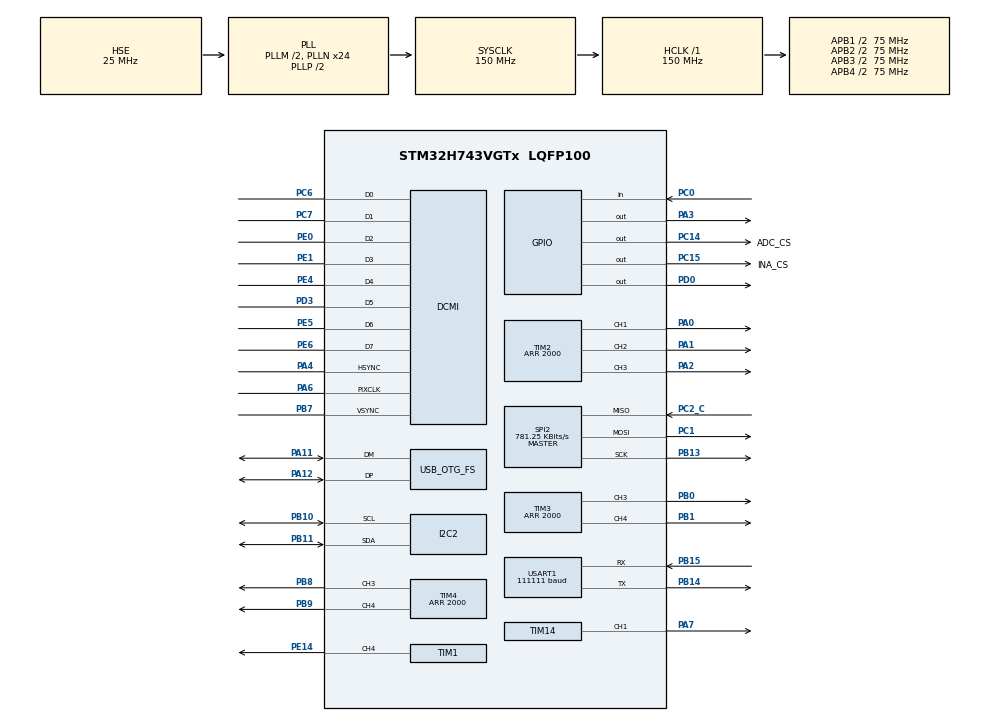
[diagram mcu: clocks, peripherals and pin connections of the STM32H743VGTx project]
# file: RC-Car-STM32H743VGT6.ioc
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CORTEX_M7.default_mode_Activation=1
DCMI.ByteSelectMode=DCMI_BSM_OTHER
DCMI.ByteSelectStart=DCMI_OEBS_EVEN
DCMI.HSPolarity=DCMI_HSPOLARITY_LOW
DCMI.LineSelectMode=DCMI_LSM_ALL
DCMI.PCKPolarity=DCMI_PCKPOLARITY_FALLING
DCMI.VSPolarity=DCMI_VSPOLARITY_HIGH
Dma.DCMI.0.Direction=DMA_PERIPH_TO_MEMORY
Dma.DCMI.0.EventEnable=DISABLE
Dma.DCMI.0.FIFOMode=DMA_FIFOMODE_ENABLE
Dma.DCMI.0.FIFOThreshold=DMA_FIFO_THRESHOLD_FULL
Dma.DCMI.0.Instance=DMA1_Stream0
Dma.DCMI.0.MemBurst=DMA_MBURST_SINGLE
Dma.DCMI.0.MemDataAlignment=DMA_MDATAALIGN_WORD
Dma.DCMI.0.MemInc=DMA_MINC_ENABLE
Dma.DCMI.0.Mode=DMA_CIRCULAR
Dma.DCMI.0.PeriphBurst=DMA_PBURST_SINGLE
Dma.DCMI.0.PeriphDataAlignment=DMA_PDATAALIGN_WORD
Dma.DCMI.0.PeriphInc=DMA_PINC_DISABLE
Dma.DCMI.0.Polarity=HAL_DMAMUX_REQ_GEN_RISING
Dma.DCMI.0.Priority=DMA_PRIORITY_HIGH
Dma.DCMI.0.RequestNumber=1
Dma.DCMI.0.SignalID=NONE
Dma.DCMI.0.SyncEnable=DISABLE
Dma.DCMI.0.SyncPolarity=HAL_DMAMUX_SYNC_NO_EVENT
Dma.DCMI.0.SyncRequestNumber=1
Dma.DCMI.0.SyncSignalID=NONE
Dma.Request0=DCMI
Dma.Request1=USART1_RX
Dma.USART1_RX.1.Direction=DMA_PERIPH_TO_MEMORY
Dma.USART1_RX.1.EventEnable=DISABLE
Dma.USART1_RX.1.FIFOMode=DMA_FIFOMODE_DISABLE
Dma.USART1_RX.1.Instance=DMA2_Stream0
Dma.USART1_RX.1.MemDataAlignment=DMA_MDATAALIGN_BYTE
Dma.USART1_RX.1.MemInc=DMA_MINC_ENABLE
Dma.USART1_RX.1.Mode=DMA_CIRCULAR
Dma.USART1_RX.1.PeriphDataAlignment=DMA_PDATAALIGN_BYTE
Dma.USART1_RX.1.PeriphInc=DMA_PINC_DISABLE
Dma.USART1_RX.1.Polarity=HAL_DMAMUX_REQ_GEN_RISING
Dma.USART1_RX.1.Priority=DMA_PRIORITY_VERY_HIGH
Dma.USART1_RX.1.RequestNumber=1
Dma.USART1_RX.1.SignalID=NONE
Dma.USART1_RX.1.SyncEnable=DISABLE
Dma.USART1_RX.1.SyncPolarity=HAL_DMAMUX_SYNC_NO_EVENT
Dma.USART1_RX.1.SyncRequestNumber=1
Dma.USART1_RX.1.SyncSignalID=NONE
I2C2.Speed=100
I2C2.Timing=0x00C0EAFF
JPEG.JPEG_RGB_FORMAT=JPEG_RGB565
JPEG.USE_JPEG_DECODER=0
Mcu.Family=STM32H7
Mcu.Name=STM32H743VGTx
Mcu.Package=LQFP100
Mdma.MDMA_Channel0.JPEG_INFIFO_TH.0.BlockCount=0
Mdma.MDMA_Channel0.JPEG_INFIFO_TH.0.BlockDataLength=0
Mdma.MDMA_Channel0.JPEG_INFIFO_TH.0.BufferTransferLength=32
Mdma.MDMA_Channel0.JPEG_INFIFO_TH.0.CircularMode=MDMA_LINEAR_LIST
Mdma.MDMA_Channel0.JPEG_INFIFO_TH.0.DataAlignment=MDMA_DATAALIGN_PACKENABLE
Mdma.MDMA_Channel0.JPEG_INFIFO_TH.0.DestBlockAddressOffset=0
Mdma.MDMA_Channel0.JPEG_INFIFO_TH.0.DestBurst=MDMA_DEST_BURST_SINGLE
Mdma.MDMA_Channel0.JPEG_INFIFO_TH.0.DestDataSize=MDMA_DEST_DATASIZE_WORD
Mdma.MDMA_Channel0.JPEG_INFIFO_TH.0.DestinationInc=MDMA_DEST_INC_DISABLE
Mdma.MDMA_Channel0.JPEG_INFIFO_TH.0.DstAddress=0
Mdma.MDMA_Channel0.JPEG_INFIFO_TH.0.Endianness=MDMA_LITTLE_ENDIANNESS_PRESERVE
Mdma.MDMA_Channel0.JPEG_INFIFO_TH.0.Instance=MDMA_Channel0
Mdma.MDMA_Channel0.JPEG_INFIFO_TH.0.MaskAddress=0
Mdma.MDMA_Channel0.JPEG_INFIFO_TH.0.MaskData=0
Mdma.MDMA_Channel0.JPEG_INFIFO_TH.0.Priority=MDMA_PRIORITY_MEDIUM
Mdma.MDMA_Channel0.JPEG_INFIFO_TH.0.Rank=First
Mdma.MDMA_Channel0.JPEG_INFIFO_TH.0.SourceBlockAddressOffset=0
Mdma.MDMA_Channel0.JPEG_INFIFO_TH.0.SourceBurst=MDMA_SOURCE_BURST_SINGLE
Mdma.MDMA_Channel0.JPEG_INFIFO_TH.0.SourceDataSize=MDMA_SRC_DATASIZE_BYTE
Mdma.MDMA_Channel0.JPEG_INFIFO_TH.0.SourceInc=MDMA_SRC_INC_BYTE
Mdma.MDMA_Channel0.JPEG_INFIFO_TH.0.SrcAddress=0
Mdma.MDMA_Channel0.JPEG_INFIFO_TH.0.TransferTriggerMode=MDMA_BUFFER_TRANSFER
Mdma.MDMA_Channel0.Request0=JPEG_INFIFO_TH
Mdma.MDMA_Channel0.RequestsNb=1
Mdma.MDMA_Channel1.JPEG_OUTFIFO_NE.0.BlockCount=0
Mdma.MDMA_Channel1.JPEG_OUTFIFO_NE.0.BlockDataLength=0
Mdma.MDMA_Channel1.JPEG_OUTFIFO_NE.0.BufferTransferLength=4
Mdma.MDMA_Channel1.JPEG_OUTFIFO_NE.0.CircularMode=MDMA_LINEAR_LIST
Mdma.MDMA_Channel1.JPEG_OUTFIFO_NE.0.DataAlignment=MDMA_DATAALIGN_PACKENABLE
Mdma.MDMA_Channel1.JPEG_OUTFIFO_NE.0.DestBlockAddressOffset=0
Mdma.MDMA_Channel1.JPEG_OUTFIFO_NE.0.DestBurst=MDMA_DEST_BURST_SINGLE
Mdma.MDMA_Channel1.JPEG_OUTFIFO_NE.0.DestDataSize=MDMA_DEST_DATASIZE_BYTE
Mdma.MDMA_Channel1.JPEG_OUTFIFO_NE.0.DestinationInc=MDMA_DEST_INC_BYTE
Mdma.MDMA_Channel1.JPEG_OUTFIFO_NE.0.DstAddress=0
Mdma.MDMA_Channel1.JPEG_OUTFIFO_NE.0.Endianness=MDMA_LITTLE_ENDIANNESS_PRESERVE
Mdma.MDMA_Channel1.JPEG_OUTFIFO_NE.0.Instance=MDMA_Channel1
Mdma.MDMA_Channel1.JPEG_OUTFIFO_NE.0.MaskAddress=0
Mdma.MDMA_Channel1.JPEG_OUTFIFO_NE.0.MaskData=0
Mdma.MDMA_Channel1.JPEG_OUTFIFO_NE.0.Priority=MDMA_PRIORITY_MEDIUM
Mdma.MDMA_Channel1.JPEG_OUTFIFO_NE.0.Rank=First
Mdma.MDMA_Channel1.JPEG_OUTFIFO_NE.0.SourceBlockAddressOffset=0
Mdma.MDMA_Channel1.JPEG_OUTFIFO_NE.0.SourceBurst=MDMA_SOURCE_BURST_SINGLE
Mdma.MDMA_Channel1.JPEG_OUTFIFO_NE.0.SourceDataSize=MDMA_SRC_DATASIZE_WORD
Mdma.MDMA_Channel1.JPEG_OUTFIFO_NE.0.SourceInc=MDMA_SRC_INC_DISABLE
Mdma.MDMA_Channel1.JPEG_OUTFIFO_NE.0.SrcAddress=0
Mdma.MDMA_Channel1.JPEG_OUTFIFO_NE.0.TransferTriggerMode=MDMA_BUFFER_TRANSFER
Mdma.MDMA_Channel1.Request0=JPEG_OUTFIFO_NE
Mdma.MDMA_Channel1.RequestsNb=1
Mdma.RequestSet0=MDMA_Channel0
Mdma.RequestSet1=MDMA_Channel1
Mdma.RequestSetsNb=2
NVIC.DCMI_IRQn=true\:0\:0\:false\:false\:true\:true\:true\:true
NVIC.DMA1_Stream0_IRQn=true\:0\:0\:false\:false\:true\:false\:true\:true
NVIC.DMA2_Stream0_IRQn=true\:0\:0\:false\:false\:true\:false\:true\:true
NVIC.I2C2_ER_IRQn=true\:0\:0\:false\:false\:true\:true\:true\:true
NVIC.I2C2_EV_IRQn=true\:0\:0\:false\:false\:true\:true\:true\:true
NVIC.JPEG_IRQn=true\:0\:0\:false\:false\:true\:true\:true\:true
NVIC.MDMA_IRQn=true\:0\:0\:false\:false\:true\:false\:true\:true
NVIC.OTG_FS_IRQn=true\:0\:0\:false\:false\:true\:false\:true\:true
NVIC.PriorityGroup=NVIC_PRIORITYGROUP_4
NVIC.TIM5_IRQn=true\:0\:0\:false\:false\:true\:true\:true\:true
NVIC.TIM8_TRG_COM_TIM14_IRQn=true\:0\:0\:false\:false\:true\:true\:true\:true
NVIC.USART1_IRQn=true\:0\:0\:false\:false\:true\:true\:true\:true
PA0.Signal=S_TIM2_CH1_ETR
PA1.Signal=S_TIM2_CH2
PA11.Mode=Device_Only
PA11.Signal=USB_OTG_FS_DM
PA12.Mode=Device_Only
PA12.Signal=USB_OTG_FS_DP
PA2.Signal=S_TIM2_CH3
PA3.PinState=GPIO_PIN_SET
PA3.Signal=GPIO_Output
PA4.Mode=Slave_8_bits_External_Synchro
PA4.Signal=DCMI_HSYNC
PA6.Mode=Slave_8_bits_External_Synchro
PA6.Signal=DCMI_PIXCLK
PA7.Signal=S_TIM14_CH1
PB0.Signal=S_TIM3_CH3
PB1.Signal=S_TIM3_CH4
PB10.GPIO_Pu=GPIO_PULLUP
PB10.GPIO_Speed=GPIO_SPEED_FREQ_VERY_HIGH
PB10.Mode=I2C
PB10.Signal=I2C2_SCL
PB11.GPIO_Pu=GPIO_PULLUP
PB11.GPIO_Speed=GPIO_SPEED_FREQ_VERY_HIGH
PB11.Mode=I2C
PB11.Signal=I2C2_SDA
PB13.Mode=Full_Duplex_Master
PB13.Signal=SPI2_SCK
PB14.Mode=Asynchronous
PB14.Signal=USART1_TX
PB15.Mode=Asynchronous
PB15.Signal=USART1_RX
PB7.Mode=Slave_8_bits_External_Synchro
PB7.Signal=DCMI_VSYNC
PB8.Signal=S_TIM4_CH3
PB9.Signal=S_TIM4_CH4
PC0.Signal=GPIO_Input
PC1.Mode=Full_Duplex_Master
PC1.Signal=SPI2_MOSI
PC14-OSC32_IN\ (OSC32_IN).GPIO_Label=ADC_CS
PC14-OSC32_IN\ (OSC32_IN).PinState=GPIO_PIN_SET
PC14-OSC32_IN\ (OSC32_IN).Signal=GPIO_Output
PC15-OSC32_OUT\ (OSC32_OUT).GPIO_Label=INA_CS
PC15-OSC32_OUT\ (OSC32_OUT).GPIO_Speed=GPIO_SPEED_FREQ_LOW
PC15-OSC32_OUT\ (OSC32_OUT).PinState=GPIO_PIN_SET
PC15-OSC32_OUT\ (OSC32_OUT).Signal=GPIO_Output
PC2_C.Mode=Full_Duplex_Master
PC2_C.Signal=SPI2_MISO
PC6.Mode=Slave_8_bits_External_Synchro
PC6.Signal=DCMI_D0
PC7.Mode=Slave_8_bits_External_Synchro
PC7.Signal=DCMI_D1
PD0.Signal=GPIO_Output
PD3.Mode=Slave_8_bits_External_Synchro
PD3.Signal=DCMI_D5
PE0.Mode=Slave_8_bits_External_Synchro
PE0.Signal=DCMI_D2
PE1.Mode=Slave_8_bits_External_Synchro
PE1.Signal=DCMI_D3
PE14.Signal=S_TIM1_CH4
PE4.Mode=Slave_8_bits_External_Synchro
PE4.Signal=DCMI_D4
PE5.Mode=Slave_8_bits_External_Synchro
PE5.Signal=DCMI_D6
PE6.Mode=Slave_8_bits_External_Synchro
PE6.Signal=DCMI_D7
PH0-OSC_IN\ (PH0).Mode=HSE-External-Oscillator
PH0-OSC_IN\ (PH0).Signal=RCC_OSC_IN
PH1-OSC_OUT\ (PH1).Mode=HSE-External-Oscillator
PH1-OSC_OUT\ (PH1).Signal=RCC_OSC_OUT
ProjectManager.HeapSize=0x200
ProjectManager.StackSize=0x400
ProjectManager.TargetToolchain=STM32CubeIDE
RCC.ADCFreq_Value=50390625
RCC.APB1Freq_Value=75000000
RCC.APB2Freq_Value=75000000
RCC.APB3Freq_Value=75000000
RCC.APB4Freq_Value=75000000
RCC.CortexFreq_Value=150000000
RCC.D1PPRE=RCC_APB3_DIV2
RCC.D2PPRE1=RCC_APB1_DIV2
RCC.D2PPRE2=RCC_APB2_DIV2
RCC.D3PPRE=RCC_APB4_DIV2
RCC.DIVM1=2
RCC.DIVM3=2
RCC.DIVN1=24
RCC.DIVN3=12
RCC.DIVQ1=6
RCC.DIVR3=3
RCC.HCLKFreq_Value=150000000
RCC.I2C123CLockSelection=RCC_I2C123CLKSOURCE_PLL3
RCC.PLL2FRACN=0
RCC.PLL3FRACN=0
RCC.PLLFRACN=0
RCC.PLLSourceVirtual=RCC_PLLSOURCE_HSE
RCC.PWR_Regulator_Voltage_Scale=PWR_REGULATOR_VOLTAGE_SCALE1
RCC.SYSCLKFreq_VALUE=150000000
RCC.SYSCLKSource=RCC_SYSCLKSOURCE_PLLCLK
RCC.USBFreq_Value=50000000
SH.S_TIM14_CH1.0=TIM14_CH1,PWM Generation1 CH1
SH.S_TIM1_CH4.0=TIM1_CH4,PWM Generation4 CH4
SH.S_TIM2_CH1_ETR.0=TIM2_CH1,PWM Generation1 CH1
SH.S_TIM2_CH2.0=TIM2_CH2,PWM Generation2 CH2
SH.S_TIM2_CH3.0=TIM2_CH3,PWM Generation3 CH3
SH.S_TIM3_CH3.0=TIM3_CH3,PWM Generation3 CH3
SH.S_TIM3_CH4.0=TIM3_CH4,PWM Generation4 CH4
SH.S_TIM4_CH3.0=TIM4_CH3,PWM Generation3 CH3
SH.S_TIM4_CH4.0=TIM4_CH4,PWM Generation4 CH4
SPI2.BaudRatePrescaler=SPI_BAUDRATEPRESCALER_64
SPI2.CLKPhase=SPI_PHASE_1EDGE
SPI2.CLKPolarity=SPI_POLARITY_HIGH
SPI2.CalculateBaudRate=781.25 KBits/s
SPI2.DataSize=SPI_DATASIZE_8BIT
SPI2.Direction=SPI_DIRECTION_2LINES
SPI2.Mode=SPI_MODE_MASTER
SPI2.NSSPMode=SPI_NSS_PULSE_DISABLE
SPI2.VirtualType=VM_MASTER
TIM1.Channel-PWM\ Generation4\ CH4=TIM_CHANNEL_4
TIM1.Period=2000
TIM14.AutoReloadPreload=TIM_AUTORELOAD_PRELOAD_ENABLE
TIM14.Channel=TIM_CHANNEL_1
TIM14.OCFastMode_PWM=TIM_OCFAST_ENABLE
TIM14.Period=5
TIM14.Pulse=3
TIM2.Channel-PWM\ Generation1\ CH1=TIM_CHANNEL_1
TIM2.Channel-PWM\ Generation2\ CH2=TIM_CHANNEL_2
TIM2.Channel-PWM\ Generation3\ CH3=TIM_CHANNEL_3
TIM2.Period=2000
TIM3.Channel-PWM\ Generation3\ CH3=TIM_CHANNEL_3
TIM3.Channel-PWM\ Generation4\ CH4=TIM_CHANNEL_4
TIM3.Period=2000
TIM4.Channel-PWM\ Generation3\ CH3=TIM_CHANNEL_3
TIM4.Channel-PWM\ Generation4\ CH4=TIM_CHANNEL_4
TIM4.Period=2000
TIM5.Period=7499998
USART1.BaudRate=111111
USART1.DMADisableonRxErrorParam=ADVFEATURE_DMA_DISABLEONRXERROR
USART1.FIFOMode=FIFOMODE_ENABLE
USART1.VirtualMode-Asynchronous=VM_ASYNC
USB_DEVICE.APP_TX_DATA_SIZE-CDC_FS=2048
USB_DEVICE.CLASS_NAME_FS=CDC
USB_DEVICE.VirtualMode-CDC_FS=Cdc
USB_DEVICE.VirtualModeFS=Cdc_FS
USB_OTG_FS.VirtualMode=Device_Only
USB_OTG_FS.dma_enable=DISABLE
VP_JPEG_VS_JPEG.Mode=JPEG_Activate
VP_MEMORYMAP_VS_MEMORYMAP.Mode=CurAppReg
VP_TIM14_VS_ClockSourceINT.Mode=Enable_Timer
VP_TIM5_VS_ClockSourceINT.Mode=Internal
VP_USB_DEVICE_VS_USB_DEVICE_CDC_FS.Mode=CDC_FS
board=custom

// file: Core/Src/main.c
/* USER CODE BEGIN Header */
/**
 ******************************************************************************
 * @file           : main.c
 * @brief          : Main program body
 ******************************************************************************
 * @attention
 *
 * Copyright (c) 2025 STMicroelectronics.
 * All rights reserved.
 *
 * This software is licensed under terms that can be found in the LICENSE file
 * in the root directory of this software component.
 * If no LICENSE file comes with this software, it is provided AS-IS.
 *
 ******************************************************************************
 */
/* USER CODE END Header */
#include "main.h"
#include "usb_device.h"

/* USER CODE BEGIN Includes */
#include "INA229.h"
#include "XBEE.h"
/* USER CODE END Includes */

/* USER CODE BEGIN PD */
#define OV7670_ADDR_READ 0x43
#define OV7670_ADDR_WRITE 0x42

// SAFETY DEFINES
#define WDOG_NETWORK_CUTOFF 4
#define OVERCURRENT_PROTLIMIT 5.0
#define UNDERVOLT_PROTLIMIT 21.0

// SCHEDULER OPTIONS
#define SCH_MS_TX 5
#define SCH_MS_DEBUG 50

// CONTROL DEFINES
#define CTRL_MAX_PWRDELTA_PERSECOND 2000

// CAMERA SETTINGS
#define CAM_WIDTH 315
#define CAM_HEIGHT 242
#define CAM_VSHIFT_INCREMENTS CAM_HEIGHT / 2

// JPEG SETTINGS
#define JPEG_QUALITY 20
#define JPEG_OUTBUF_SIZE 64
#define JPEG_HEADERSIZE 526

#define CAM_GRAYSIZE CAM_WIDTH * CAM_HEIGHT
#define CAM_422SIZE CAM_WIDTH * CAM_HEIGHT * 2
#define CAM_444SIZE CAM_WIDTH * CAM_HEIGHT * 3

// UART SETTINGS
#define UART_TXSIZE 64
/* USER CODE END PD */

DCMI_HandleTypeDef hdcmi;
DMA_HandleTypeDef hdma_dcmi;

I2C_HandleTypeDef hi2c2;

JPEG_HandleTypeDef hjpeg;
MDMA_HandleTypeDef hmdma_jpeg_infifo_th;
MDMA_HandleTypeDef hmdma_jpeg_outfifo_ne;

SPI_HandleTypeDef hspi2;

TIM_HandleTypeDef htim1;
TIM_HandleTypeDef htim2;
TIM_HandleTypeDef htim3;
TIM_HandleTypeDef htim4;
TIM_HandleTypeDef htim5;
TIM_HandleTypeDef htim14;

UART_HandleTypeDef huart1;
DMA_HandleTypeDef hdma_usart1_rx;

void SystemClock_Config(void);
static void MPU_Config(void);
static void MX_GPIO_Init(void);
static void MX_DMA_Init(void);
static void MX_MDMA_Init(void);
static void MX_USART1_UART_Init(void);
static void MX_DCMI_Init(void);
static void MX_I2C2_Init(void);
static void MX_TIM14_Init(void);
static void MX_TIM2_Init(void);
static void MX_TIM4_Init(void);
static void MX_TIM1_Init(void);
static void MX_TIM3_Init(void);
static void MX_JPEG_Init(void);
static void MX_SPI2_Init(void);
static void MX_TIM5_Init(void);
/* USER CODE BEGIN PFP */

// Watchdog Fucntions
void NetworkTimeout();

// Scheduling Functions
void SCH_XBeeRX();
void SCH_XBeeTX();
void SCH_CTRL();
void SCH_PowerMon();
void SCH_Camera();
void SCH_JPEG();
void SCH_DEBUG();

// Utility Functions
uint32_t DeltaTime(uint32_t start_t);
void WriteDebug(uint8_t *str_ptr, uint8_t str_len);

HAL_StatusTypeDef CAM_GetRegister(uint8_t addr, uint8_t *pData,
		uint8_t haltOnError);
HAL_StatusTypeDef CAM_SetRegister(uint8_t addr, uint8_t data,
		uint8_t haltOnError);
uint8_t GenerateJPEGMCUBlock();

/* USER CODE END PFP */

/* USER CODE BEGIN 0 */

// SAFETY VARIABLES
uint8_t wdog_network = 0;
uint8_t error_overcurrent = 0;
uint8_t error_undervolt = 0;

float debug_peakVoltage = 0;
float debug_peakCurrent = 0;

// SCHEDULING VARIABLES
uint32_t sch_tim_tx = 0;
uint32_t sch_tim_ctrl = 0;
uint32_t sch_tim_debug = 0;
uint32_t debug_ctr = 0;

// CONTROL VARIABLES
float ctrl_input[2] = { 0, 0 };
float ctrl_inputLast[2] = { 0, 0 };
float ctrl_output[2] = { 0, 0 };

uint16_t ctrl_output_mag[2] = { 0, 0 };
uint8_t ctrl_output_dir[2] = { 0, 0 };

// USB VARIABLES
uint8_t ssd_msg[100] = { 0 };	// Reserve 100 bytes for USB debug messages
uint8_t usb_device_rxFlag = 0x00; // Extern in usbd_cdc_if.h

// INA229 VARIABLES
INA229_HandleTypeDef hina229;

// CAMERA VARIABLES
uint8_t camera_mem[CAM_GRAYSIZE];	// Reserve u8 array for camera DMA transfer
volatile uint8_t camera_state = 0;			// Camera state variable
// ----------------------------------- 0: Camera idle
// ----------------------------------- 1: Camera DMA Queued
// ----------------------------------- 2: Camera capturing
// ----------------------------------- 3: Image Ready

uint32_t camera_vshift = CAM_VSHIFT_INCREMENTS;

// JPEG VARIABLES
uint8_t jpeg_mcu[64];				// Reserve u8 array for JPEG MCU block
uint32_t jpeg_block = 0;			// Current JPEG MCU block being processed

uint8_t jpeg_out[CAM_GRAYSIZE];		// Reserve u8 array for JPEG result
volatile uint8_t jpeg_state = 0;				// JPEG state
// ----------------------------------- 0: JPEG idle
// ----------------------------------- 1: JPEG Encoding
// ----------------------------------- 2: JPEG Ready

volatile uint32_t jpeg_size = 0;			// Current size of the JPEG result

uint8_t jpeg_quality = 0;
uint16_t jpeg_mcu_widths[4] = { 6, 8, 12, 23 };
uint16_t jpeg_mcu_heights[4] = { 8, 10, 15, 30 };
uint8_t jpeg_scaleFactors[4] = { 4, 3, 2, 1 };

uint16_t jpeg_vshift = 0;

// XBEE VARIABLES
XBEE_HandleTypeDef hxbee;

volatile uint16_t tx_byte = 0;	// Which byte is currently being TX'd
volatile uint8_t tx_state = 0;	// TX state
// ----------------------------------- 0: TX Idle
// ----------------------------------- 1: TX IMAGE
// ----------------------------------- 2: TX HEADER

/* USER CODE END 0 */

int main(void) {

	/* MPU Configuration--------------------------------------------------------*/
	MPU_Config();

	/* MCU Configuration--------------------------------------------------------*/

	/* Reset of all peripherals, Initializes the Flash interface and the Systick. */
	HAL_Init();

	/* Configure the system clock */
	SystemClock_Config();

	/* Initialize all configured peripherals */
	MX_GPIO_Init();
	MX_DMA_Init();
	MX_MDMA_Init();
	MX_USART1_UART_Init();
	MX_USB_DEVICE_Init();
	MX_DCMI_Init();
	MX_I2C2_Init();
	MX_TIM14_Init();
	MX_TIM2_Init();
	MX_TIM4_Init();
	MX_TIM1_Init();
	MX_TIM3_Init();
	MX_JPEG_Init();
	MX_SPI2_Init();
	MX_TIM5_Init();
	/* USER CODE BEGIN 2 */

	// ------------------------------------------------------------ XBEE READ MODE -- //
//	uint8_t uart_xbee_buffer[256] = {0};	// Get a reference to the start of buffer data
//	uint8_t uart_xbee_len = 0;			// Get a reference to the start of buffer data
//	while (1) {
//		  HAL_UARTEx_ReceiveToIdle(&huart1, uart_xbee_buffer, 256, &uart_xbee_len, 1000);
//		  if (uart_xbee_len > 0) {
//			  CDC_Transmit_FS(uart_xbee_buffer, uart_xbee_len);
//			  uart_xbee_len = 0;
//			  memset(uart_xbee_buffer, 0x00, 256);
//		  } else {
//			  //sprintf(usb_msg, "err\r\n");
//			  //HAL_UART_Transmit(&huart1, usb_msg, strlen(usb_msg), 1000);
//		  }
//	}
	// ------------------------------------------------------------ SETUP INA229 -- //
	hina229.spi_handle = &hspi2;
	hina229.cs_gpio_handle = INA_CS_GPIO_Port;
	hina229.cs_gpio_pin = INA_CS_Pin;

	if (INA229_Init(&hina229)) {
		sprintf(ssd_msg, " Failed to Init INA229");
		WriteDebug(ssd_msg, strlen(ssd_msg));
		// This state is non-functional, reset
		NVIC_SystemReset();
	}

	// ------------------------------------------------------------ SETUP CAMERA INTERFACE -- //
	HAL_TIM_PWM_Start(&htim14, TIM_CHANNEL_1);// XCLK - Start the camera's core clock

	// SET CAMERA REGISTERS
	// See: https://web.mit.edu/6.111/www/f2016/tools/OV7670_2006.pdf

	// (0x0C) COM3  [3] = 1 (Enable Scaling)

	// (0x12) COM7  [4] = 1 (QVGA Resolution)
	//	    COM7  [2] = 0 (YUV Format)
	//        COM7  [0] = 0 (YUV Format)

	// (0x17) HSTART
	// (0x18) HSTOP

	// (0x32) HREF [7:6] = 10  (Default value)
	//        HREF [2:0] = 110 (increase LSB of HSTART by 6 to get rid of black bar)

	// UNUSED

	// X (0x15) COM10 [6] = 1 (Switch HREF to HSYNC)

	// X (0x40) COM15 [7] = 1 (Data range [00-FF])
	// X 		  COM15 [6] = 1 (Data range [00-FF])
	// X 		  COM15 [5] = 0 (RGB 565)
	// X 		  COM15 [4] = 1 (RGB 565)
	uint8_t cam_regCache;

	cam_regCache = 0b00001000;
	while (CAM_SetRegister(0x0C, cam_regCache, 0)) {
	}

	cam_regCache = 0b00010000;
	while (CAM_SetRegister(0x12, cam_regCache, 0)) {
	}

	cam_regCache = 0b10000110;
	while (CAM_SetRegister(0x32, cam_regCache, 0)) {
	}

	//cam_regCache = 0b01000000;
	//while (CAM_SetRegister(0x15, cam_regCache, 0)) {}

	//cam_regCache = 0b11010000;
	//while (CAM_SetRegister(0x40, cam_regCache, 0)) {}

	// ------------------------------------------------------------ SETUP JPEG ENCODING -- //
	// Set the CONFIG
	JPEG_ConfTypeDef *jpeg_config;
	jpeg_config->ColorSpace = JPEG_GRAYSCALE_COLORSPACE;
	//jpeg_config->ColorSpace = JPEG_YCBCR_COLORSPACE;
	//jpeg_config->ChromaSubsampling = JPEG_422_SUBSAMPLING;
	jpeg_config->ImageWidth = jpeg_mcu_widths[jpeg_quality] * 8;
	jpeg_config->ImageHeight = jpeg_mcu_heights[jpeg_quality] * 8;
	jpeg_config->ImageQuality = JPEG_QUALITY;
	HAL_JPEG_ConfigEncoding(&hjpeg, jpeg_config);

	// ------------------------------------------------------------ SETUP WATCHDOG TIMER-- //
	if (HAL_TIM_Base_Start_IT(&htim5) != HAL_OK) {
		sprintf(ssd_msg, " Failed to Start Watchdog");
		WriteDebug(ssd_msg, strlen(ssd_msg));
		// This state is non-functional, reset
		NVIC_SystemReset();
		while (1) {
		}
	}

	// ------------------------------------------------------------ SETUP XBEE -- //
	hxbee.uart_handle = &huart1;
	hxbee.pktRx_max = 2;
	hxbee.pktTx_max = 2;

	if (XBEE_Init(&hxbee)) {
		sprintf(ssd_msg, " Failed to Init XBEE");
		WriteDebug(ssd_msg, strlen(ssd_msg));
		// This state is non-functional, reset
		NVIC_SystemReset();
	}

	// SETUP MOTOR
	TIM2->CCR1 = 0;
	TIM2->CCR2 = 0;

	TIM4->CCR4 = 0;
	TIM4->CCR3 = 0;
	HAL_TIM_PWM_Start(&htim2, TIM_CHANNEL_1); // LEFT_PWM_1
	HAL_TIM_PWM_Start(&htim2, TIM_CHANNEL_2); // RIGHT_PWM_1

	HAL_TIM_PWM_Start(&htim4, TIM_CHANNEL_4); // LEFT_PWM_2
	HAL_TIM_PWM_Start(&htim4, TIM_CHANNEL_3); // RIGHT_PWM_2

	// Setup lights
	TIM1->CCR4 = 1000; // 0 - 2000
	TIM3->CCR4 = 1000;
	TIM3->CCR3 = 1000;
	TIM2->CCR4 = 1000;
	HAL_TIM_PWM_Start(&htim1, TIM_CHANNEL_4); // LIGHTS_PWM_1
	HAL_TIM_PWM_Start(&htim3, TIM_CHANNEL_4); // LIGHTS_PWM_2
	HAL_TIM_PWM_Start(&htim3, TIM_CHANNEL_3); // LIGHTS_PWM_3
	HAL_TIM_PWM_Start(&htim2, TIM_CHANNEL_3); // LIGHTS_PWM_4

	// Delay for goofiness
	HAL_Delay(1000);

	HAL_GPIO_WritePin(GPIOA, GPIO_PIN_3, GPIO_PIN_RESET); // Motor_en

	/* USER CODE END 2 */

	/* Infinite loop */
	while (1) {

		/* USER CODE BEGIN 3 */
		SCH_XBeeRX();	// Handle radio recieve
		SCH_CTRL();		// Handle control signals
		SCH_PowerMon();	// Power Monitoring
		SCH_Camera();	// Take a picture if camera idle
		SCH_JPEG();		// Convert JPEG if camera ready to present
		SCH_XBeeTX();	// Transmit JPEG if JPEG ready

		SCH_DEBUG();
	}
	/* USER CODE END 3 */
}

void SystemClock_Config(void) {
	RCC_OscInitTypeDef RCC_OscInitStruct = { 0 };
	RCC_ClkInitTypeDef RCC_ClkInitStruct = { 0 };

	/** Supply configuration update enable
	 */
	HAL_PWREx_ConfigSupply(PWR_LDO_SUPPLY);

	/** Configure the main internal regulator output voltage
	 */
	__HAL_PWR_VOLTAGESCALING_CONFIG(PWR_REGULATOR_VOLTAGE_SCALE1);

	while (!__HAL_PWR_GET_FLAG(PWR_FLAG_VOSRDY)) {
	}

	/** Initializes the RCC Oscillators according to the specified parameters
	 * in the RCC_OscInitTypeDef structure.
	 */
	RCC_OscInitStruct.OscillatorType = RCC_OSCILLATORTYPE_HSE;
	RCC_OscInitStruct.HSEState = RCC_HSE_ON;
	RCC_OscInitStruct.PLL.PLLState = RCC_PLL_ON;
	RCC_OscInitStruct.PLL.PLLSource = RCC_PLLSOURCE_HSE;
	RCC_OscInitStruct.PLL.PLLM = 2;
	RCC_OscInitStruct.PLL.PLLN = 24;
	RCC_OscInitStruct.PLL.PLLP = 2;
	RCC_OscInitStruct.PLL.PLLQ = 6;
	RCC_OscInitStruct.PLL.PLLR = 2;
	RCC_OscInitStruct.PLL.PLLRGE = RCC_PLL1VCIRANGE_3;
	RCC_OscInitStruct.PLL.PLLVCOSEL = RCC_PLL1VCOWIDE;
	RCC_OscInitStruct.PLL.PLLFRACN = 0;
	if (HAL_RCC_OscConfig(&RCC_OscInitStruct) != HAL_OK) {
		Error_Handler();
	}

	/** Initializes the CPU, AHB and APB buses clocks
	 */
	RCC_ClkInitStruct.ClockType = RCC_CLOCKTYPE_HCLK | RCC_CLOCKTYPE_SYSCLK
			| RCC_CLOCKTYPE_PCLK1 | RCC_CLOCKTYPE_PCLK2 | RCC_CLOCKTYPE_D3PCLK1
			| RCC_CLOCKTYPE_D1PCLK1;
	RCC_ClkInitStruct.SYSCLKSource = RCC_SYSCLKSOURCE_PLLCLK;
	RCC_ClkInitStruct.SYSCLKDivider = RCC_SYSCLK_DIV1;
	RCC_ClkInitStruct.AHBCLKDivider = RCC_HCLK_DIV1;
	RCC_ClkInitStruct.APB3CLKDivider = RCC_APB3_DIV2;
	RCC_ClkInitStruct.APB1CLKDivider = RCC_APB1_DIV2;
	RCC_ClkInitStruct.APB2CLKDivider = RCC_APB2_DIV2;
	RCC_ClkInitStruct.APB4CLKDivider = RCC_APB4_DIV2;

	if (HAL_RCC_ClockConfig(&RCC_ClkInitStruct, FLASH_LATENCY_2) != HAL_OK) {
		Error_Handler();
	}
}

static void MX_DCMI_Init(void) {

	hdcmi.Instance = DCMI;
	hdcmi.Init.SynchroMode = DCMI_SYNCHRO_HARDWARE;
	hdcmi.Init.PCKPolarity = DCMI_PCKPOLARITY_FALLING;
	hdcmi.Init.VSPolarity = DCMI_VSPOLARITY_HIGH;
	hdcmi.Init.HSPolarity = DCMI_HSPOLARITY_LOW;
	hdcmi.Init.CaptureRate = DCMI_CR_ALL_FRAME;
	hdcmi.Init.ExtendedDataMode = DCMI_EXTEND_DATA_8B;
	hdcmi.Init.JPEGMode = DCMI_JPEG_DISABLE;
	hdcmi.Init.ByteSelectMode = DCMI_BSM_OTHER;
	hdcmi.Init.ByteSelectStart = DCMI_OEBS_EVEN;
	hdcmi.Init.LineSelectMode = DCMI_LSM_ALL;
	hdcmi.Init.LineSelectStart = DCMI_OELS_ODD;
	if (HAL_DCMI_Init(&hdcmi) != HAL_OK) {
		Error_Handler();
	}

}

static void MX_I2C2_Init(void) {

	hi2c2.Instance = I2C2;
	hi2c2.Init.Timing = 0x00C0EAFF;
	hi2c2.Init.OwnAddress1 = 0;
	hi2c2.Init.AddressingMode = I2C_ADDRESSINGMODE_7BIT;
	hi2c2.Init.DualAddressMode = I2C_DUALADDRESS_DISABLE;
	hi2c2.Init.OwnAddress2 = 0;
	hi2c2.Init.OwnAddress2Masks = I2C_OA2_NOMASK;
	hi2c2.Init.GeneralCallMode = I2C_GENERALCALL_DISABLE;
	hi2c2.Init.NoStretchMode = I2C_NOSTRETCH_DISABLE;
	if (HAL_I2C_Init(&hi2c2) != HAL_OK) {
		Error_Handler();
	}

	/** Configure Analogue filter
	 */
	if (HAL_I2CEx_ConfigAnalogFilter(&hi2c2, I2C_ANALOGFILTER_ENABLE)
			!= HAL_OK) {
		Error_Handler();
	}

	/** Configure Digital filter
	 */
	if (HAL_I2CEx_ConfigDigitalFilter(&hi2c2, 0) != HAL_OK) {
		Error_Handler();
	}

}

static void MX_JPEG_Init(void) {

	hjpeg.Instance = JPEG;
	if (HAL_JPEG_Init(&hjpeg) != HAL_OK) {
		Error_Handler();
	}

}

static void MX_SPI2_Init(void) {

	/* SPI2 parameter configuration*/
	hspi2.Instance = SPI2;
	hspi2.Init.Mode = SPI_MODE_MASTER;
	hspi2.Init.Direction = SPI_DIRECTION_2LINES;
	hspi2.Init.DataSize = SPI_DATASIZE_8BIT;
	hspi2.Init.CLKPolarity = SPI_POLARITY_HIGH;
	hspi2.Init.CLKPhase = SPI_PHASE_1EDGE;
	hspi2.Init.NSS = SPI_NSS_SOFT;
	hspi2.Init.BaudRatePrescaler = SPI_BAUDRATEPRESCALER_64;
	hspi2.Init.FirstBit = SPI_FIRSTBIT_MSB;
	hspi2.Init.TIMode = SPI_TIMODE_DISABLE;
	hspi2.Init.CRCCalculation = SPI_CRCCALCULATION_DISABLE;
	hspi2.Init.CRCPolynomial = 0x0;
	hspi2.Init.NSSPMode = SPI_NSS_PULSE_DISABLE;
	hspi2.Init.NSSPolarity = SPI_NSS_POLARITY_LOW;
	hspi2.Init.FifoThreshold = SPI_FIFO_THRESHOLD_01DATA;
	hspi2.Init.TxCRCInitializationPattern =
			SPI_CRC_INITIALIZATION_ALL_ZERO_PATTERN;
	hspi2.Init.RxCRCInitializationPattern =
			SPI_CRC_INITIALIZATION_ALL_ZERO_PATTERN;
	hspi2.Init.MasterSSIdleness = SPI_MASTER_SS_IDLENESS_00CYCLE;
	hspi2.Init.MasterInterDataIdleness = SPI_MASTER_INTERDATA_IDLENESS_00CYCLE;
	hspi2.Init.MasterReceiverAutoSusp = SPI_MASTER_RX_AUTOSUSP_DISABLE;
	hspi2.Init.MasterKeepIOState = SPI_MASTER_KEEP_IO_STATE_DISABLE;
	hspi2.Init.IOSwap = SPI_IO_SWAP_DISABLE;
	if (HAL_SPI_Init(&hspi2) != HAL_OK) {
		Error_Handler();
	}

}

static void MX_TIM1_Init(void) {

	TIM_MasterConfigTypeDef sMasterConfig = { 0 };
	TIM_OC_InitTypeDef sConfigOC = { 0 };
	TIM_BreakDeadTimeConfigTypeDef sBreakDeadTimeConfig = { 0 };

	htim1.Instance = TIM1;
	htim1.Init.Prescaler = 0;
	htim1.Init.CounterMode = TIM_COUNTERMODE_UP;
	htim1.Init.Period = 2000;
	htim1.Init.ClockDivision = TIM_CLOCKDIVISION_DIV1;
	htim1.Init.RepetitionCounter = 0;
	htim1.Init.AutoReloadPreload = TIM_AUTORELOAD_PRELOAD_DISABLE;
	if (HAL_TIM_PWM_Init(&htim1) != HAL_OK) {
		Error_Handler();
	}
	sMasterConfig.MasterOutputTrigger = TIM_TRGO_RESET;
	sMasterConfig.MasterOutputTrigger2 = TIM_TRGO2_RESET;
	sMasterConfig.MasterSlaveMode = TIM_MASTERSLAVEMODE_DISABLE;
	if (HAL_TIMEx_MasterConfigSynchronization(&htim1, &sMasterConfig)
			!= HAL_OK) {
		Error_Handler();
	}
	sConfigOC.OCMode = TIM_OCMODE_PWM1;
	sConfigOC.Pulse = 0;
	sConfigOC.OCPolarity = TIM_OCPOLARITY_HIGH;
	sConfigOC.OCFastMode = TIM_OCFAST_DISABLE;
	sConfigOC.OCIdleState = TIM_OCIDLESTATE_RESET;
	sConfigOC.OCNIdleState = TIM_OCNIDLESTATE_RESET;
	if (HAL_TIM_PWM_ConfigChannel(&htim1, &sConfigOC, TIM_CHANNEL_4)
			!= HAL_OK) {
		Error_Handler();
	}
	sBreakDeadTimeConfig.OffStateRunMode = TIM_OSSR_DISABLE;
	sBreakDeadTimeConfig.OffStateIDLEMode = TIM_OSSI_DISABLE;
	sBreakDeadTimeConfig.LockLevel = TIM_LOCKLEVEL_OFF;
	sBreakDeadTimeConfig.DeadTime = 0;
	sBreakDeadTimeConfig.BreakState = TIM_BREAK_DISABLE;
	sBreakDeadTimeConfig.BreakPolarity = TIM_BREAKPOLARITY_HIGH;
	sBreakDeadTimeConfig.BreakFilter = 0;
	sBreakDeadTimeConfig.Break2State = TIM_BREAK2_DISABLE;
	sBreakDeadTimeConfig.Break2Polarity = TIM_BREAK2POLARITY_HIGH;
	sBreakDeadTimeConfig.Break2Filter = 0;
	sBreakDeadTimeConfig.AutomaticOutput = TIM_AUTOMATICOUTPUT_DISABLE;
	if (HAL_TIMEx_ConfigBreakDeadTime(&htim1, &sBreakDeadTimeConfig)
			!= HAL_OK) {
		Error_Handler();
	}
	HAL_TIM_MspPostInit(&htim1);

}

static void MX_TIM2_Init(void) {

	TIM_MasterConfigTypeDef sMasterConfig = { 0 };
	TIM_OC_InitTypeDef sConfigOC = { 0 };

	htim2.Instance = TIM2;
	htim2.Init.Prescaler = 7;
	htim2.Init.CounterMode = TIM_COUNTERMODE_UP;
	htim2.Init.Period = 2000;
	htim2.Init.ClockDivision = TIM_CLOCKDIVISION_DIV1;
	htim2.Init.AutoReloadPreload = TIM_AUTORELOAD_PRELOAD_DISABLE;
	if (HAL_TIM_PWM_Init(&htim2) != HAL_OK) {
		Error_Handler();
	}
	sMasterConfig.MasterOutputTrigger = TIM_TRGO_RESET;
	sMasterConfig.MasterSlaveMode = TIM_MASTERSLAVEMODE_DISABLE;
	if (HAL_TIMEx_MasterConfigSynchronization(&htim2, &sMasterConfig)
			!= HAL_OK) {
		Error_Handler();
	}
	sConfigOC.OCMode = TIM_OCMODE_PWM1;
	sConfigOC.Pulse = 0;
	sConfigOC.OCPolarity = TIM_OCPOLARITY_HIGH;
	sConfigOC.OCFastMode = TIM_OCFAST_DISABLE;
	if (HAL_TIM_PWM_ConfigChannel(&htim2, &sConfigOC, TIM_CHANNEL_1)
			!= HAL_OK) {
		Error_Handler();
	}
	if (HAL_TIM_PWM_ConfigChannel(&htim2, &sConfigOC, TIM_CHANNEL_2)
			!= HAL_OK) {
		Error_Handler();
	}
	if (HAL_TIM_PWM_ConfigChannel(&htim2, &sConfigOC, TIM_CHANNEL_3)
			!= HAL_OK) {
		Error_Handler();
	}
	HAL_TIM_MspPostInit(&htim2);

}

static void MX_TIM3_Init(void) {

	TIM_MasterConfigTypeDef sMasterConfig = { 0 };
	TIM_OC_InitTypeDef sConfigOC = { 0 };

	htim3.Instance = TIM3;
	htim3.Init.Prescaler = 0;
	htim3.Init.CounterMode = TIM_COUNTERMODE_UP;
	htim3.Init.Period = 2000;
	htim3.Init.ClockDivision = TIM_CLOCKDIVISION_DIV1;
	htim3.Init.AutoReloadPreload = TIM_AUTORELOAD_PRELOAD_DISABLE;
	if (HAL_TIM_PWM_Init(&htim3) != HAL_OK) {
		Error_Handler();
	}
	sMasterConfig.MasterOutputTrigger = TIM_TRGO_RESET;
	sMasterConfig.MasterSlaveMode = TIM_MASTERSLAVEMODE_DISABLE;
	if (HAL_TIMEx_MasterConfigSynchronization(&htim3, &sMasterConfig)
			!= HAL_OK) {
		Error_Handler();
	}
	sConfigOC.OCMode = TIM_OCMODE_PWM1;
	sConfigOC.Pulse = 0;
	sConfigOC.OCPolarity = TIM_OCPOLARITY_HIGH;
	sConfigOC.OCFastMode = TIM_OCFAST_DISABLE;
	if (HAL_TIM_PWM_ConfigChannel(&htim3, &sConfigOC, TIM_CHANNEL_3)
			!= HAL_OK) {
		Error_Handler();
	}
	if (HAL_TIM_PWM_ConfigChannel(&htim3, &sConfigOC, TIM_CHANNEL_4)
			!= HAL_OK) {
		Error_Handler();
	}
	HAL_TIM_MspPostInit(&htim3);

}

static void MX_TIM4_Init(void) {

	TIM_MasterConfigTypeDef sMasterConfig = { 0 };
	TIM_OC_InitTypeDef sConfigOC = { 0 };

	htim4.Instance = TIM4;
	htim4.Init.Prescaler = 7;
	htim4.Init.CounterMode = TIM_COUNTERMODE_UP;
	htim4.Init.Period = 2000;
	htim4.Init.ClockDivision = TIM_CLOCKDIVISION_DIV1;
	htim4.Init.AutoReloadPreload = TIM_AUTORELOAD_PRELOAD_DISABLE;
	if (HAL_TIM_PWM_Init(&htim4) != HAL_OK) {
		Error_Handler();
	}
	sMasterConfig.MasterOutputTrigger = TIM_TRGO_RESET;
	sMasterConfig.MasterSlaveMode = TIM_MASTERSLAVEMODE_DISABLE;
	if (HAL_TIMEx_MasterConfigSynchronization(&htim4, &sMasterConfig)
			!= HAL_OK) {
		Error_Handler();
	}
	sConfigOC.OCMode = TIM_OCMODE_PWM1;
	sConfigOC.Pulse = 0;
	sConfigOC.OCPolarity = TIM_OCPOLARITY_HIGH;
	sConfigOC.OCFastMode = TIM_OCFAST_DISABLE;
	if (HAL_TIM_PWM_ConfigChannel(&htim4, &sConfigOC, TIM_CHANNEL_3)
			!= HAL_OK) {
		Error_Handler();
	}
	if (HAL_TIM_PWM_ConfigChannel(&htim4, &sConfigOC, TIM_CHANNEL_4)
			!= HAL_OK) {
		Error_Handler();
	}
	HAL_TIM_MspPostInit(&htim4);

}

static void MX_TIM5_Init(void) {

	TIM_ClockConfigTypeDef sClockSourceConfig = { 0 };
	TIM_MasterConfigTypeDef sMasterConfig = { 0 };

	htim5.Instance = TIM5;
	htim5.Init.Prescaler = 0;
	htim5.Init.CounterMode = TIM_COUNTERMODE_UP;
	htim5.Init.Period = 7499998;
	htim5.Init.ClockDivision = TIM_CLOCKDIVISION_DIV1;
	htim5.Init.AutoReloadPreload = TIM_AUTORELOAD_PRELOAD_DISABLE;
	if (HAL_TIM_Base_Init(&htim5) != HAL_OK) {
		Error_Handler();
	}
	sClockSourceConfig.ClockSource = TIM_CLOCKSOURCE_INTERNAL;
	if (HAL_TIM_ConfigClockSource(&htim5, &sClockSourceConfig) != HAL_OK) {
		Error_Handler();
	}
	sMasterConfig.MasterOutputTrigger = TIM_TRGO_RESET;
	sMasterConfig.MasterSlaveMode = TIM_MASTERSLAVEMODE_DISABLE;
	if (HAL_TIMEx_MasterConfigSynchronization(&htim5, &sMasterConfig)
			!= HAL_OK) {
		Error_Handler();
	}

}

static void MX_TIM14_Init(void) {

	TIM_OC_InitTypeDef sConfigOC = { 0 };

	htim14.Instance = TIM14;
	htim14.Init.Prescaler = 0;
	htim14.Init.CounterMode = TIM_COUNTERMODE_UP;
	htim14.Init.Period = 5;
	htim14.Init.ClockDivision = TIM_CLOCKDIVISION_DIV1;
	htim14.Init.AutoReloadPreload = TIM_AUTORELOAD_PRELOAD_ENABLE;
	if (HAL_TIM_Base_Init(&htim14) != HAL_OK) {
		Error_Handler();
	}
	if (HAL_TIM_PWM_Init(&htim14) != HAL_OK) {
		Error_Handler();
	}
	sConfigOC.OCMode = TIM_OCMODE_PWM1;
	sConfigOC.Pulse = 3;
	sConfigOC.OCPolarity = TIM_OCPOLARITY_HIGH;
	sConfigOC.OCFastMode = TIM_OCFAST_ENABLE;
	if (HAL_TIM_PWM_ConfigChannel(&htim14, &sConfigOC, TIM_CHANNEL_1)
			!= HAL_OK) {
		Error_Handler();
	}
	HAL_TIM_MspPostInit(&htim14);

}

static void MX_USART1_UART_Init(void) {

	huart1.Instance = USART1;
	huart1.Init.BaudRate = 111111;
	huart1.Init.WordLength = UART_WORDLENGTH_8B;
	huart1.Init.StopBits = UART_STOPBITS_1;
	huart1.Init.Parity = UART_PARITY_NONE;
	huart1.Init.Mode = UART_MODE_TX_RX;
	huart1.Init.HwFlowCtl = UART_HWCONTROL_NONE;
	huart1.Init.OverSampling = UART_OVERSAMPLING_16;
	huart1.Init.OneBitSampling = UART_ONE_BIT_SAMPLE_DISABLE;
	huart1.Init.ClockPrescaler = UART_PRESCALER_DIV1;
	huart1.AdvancedInit.AdvFeatureInit = UART_ADVFEATURE_DMADISABLEONERROR_INIT;
	huart1.AdvancedInit.DMADisableonRxError =
			UART_ADVFEATURE_DMA_DISABLEONRXERROR;
	if (HAL_UART_Init(&huart1) != HAL_OK) {
		Error_Handler();
	}
	if (HAL_UARTEx_SetTxFifoThreshold(&huart1, UART_TXFIFO_THRESHOLD_1_8)
			!= HAL_OK) {
		Error_Handler();
	}
	if (HAL_UARTEx_SetRxFifoThreshold(&huart1, UART_RXFIFO_THRESHOLD_1_8)
			!= HAL_OK) {
		Error_Handler();
	}
	if (HAL_UARTEx_EnableFifoMode(&huart1) != HAL_OK) {
		Error_Handler();
	}

}

static void MX_DMA_Init(void) {

	/* DMA controller clock enable */
	__HAL_RCC_DMA1_CLK_ENABLE();
	__HAL_RCC_DMA2_CLK_ENABLE();

	/* DMA interrupt init */
	/* DMA1_Stream0_IRQn interrupt configuration */
	HAL_NVIC_SetPriority(DMA1_Stream0_IRQn, 0, 0);
	HAL_NVIC_EnableIRQ(DMA1_Stream0_IRQn);
	/* DMA2_Stream0_IRQn interrupt configuration */
	HAL_NVIC_SetPriority(DMA2_Stream0_IRQn, 0, 0);
	HAL_NVIC_EnableIRQ(DMA2_Stream0_IRQn);

}

/**
 * Enable MDMA controller clock
 */
static void MX_MDMA_Init(void) {

	/* MDMA controller clock enable */
	__HAL_RCC_MDMA_CLK_ENABLE();
	/* Local variables */

	/* MDMA interrupt initialization */
	/* MDMA_IRQn interrupt configuration */
	HAL_NVIC_SetPriority(MDMA_IRQn, 0, 0);
	HAL_NVIC_EnableIRQ(MDMA_IRQn);

}

static void MX_GPIO_Init(void) {
	GPIO_InitTypeDef GPIO_InitStruct = { 0 };

	/* GPIO Ports Clock Enable */
	__HAL_RCC_GPIOE_CLK_ENABLE();
	__HAL_RCC_GPIOC_CLK_ENABLE();
	__HAL_RCC_GPIOH_CLK_ENABLE();
	__HAL_RCC_GPIOA_CLK_ENABLE();
	__HAL_RCC_GPIOB_CLK_ENABLE();
	__HAL_RCC_GPIOD_CLK_ENABLE();

	/*Configure GPIO pin Output Level */
	HAL_GPIO_WritePin(GPIOC, ADC_CS_Pin | INA_CS_Pin, GPIO_PIN_SET);

	/*Configure GPIO pin Output Level */
	HAL_GPIO_WritePin(GPIOA, GPIO_PIN_3, GPIO_PIN_SET);

	/*Configure GPIO pin Output Level */
	HAL_GPIO_WritePin(GPIOD, GPIO_PIN_0, GPIO_PIN_RESET);

	/*Configure GPIO pins : ADC_CS_Pin INA_CS_Pin */
	GPIO_InitStruct.Pin = ADC_CS_Pin | INA_CS_Pin;
	GPIO_InitStruct.Mode = GPIO_MODE_OUTPUT_PP;
	GPIO_InitStruct.Pull = GPIO_NOPULL;
	GPIO_InitStruct.Speed = GPIO_SPEED_FREQ_LOW;
	HAL_GPIO_Init(GPIOC, &GPIO_InitStruct);

	/*Configure GPIO pin : PC0 */
	GPIO_InitStruct.Pin = GPIO_PIN_0;
	GPIO_InitStruct.Mode = GPIO_MODE_INPUT;
	GPIO_InitStruct.Pull = GPIO_NOPULL;
	HAL_GPIO_Init(GPIOC, &GPIO_InitStruct);

	/*Configure GPIO pin : PA3 */
	GPIO_InitStruct.Pin = GPIO_PIN_3;
	GPIO_InitStruct.Mode = GPIO_MODE_OUTPUT_PP;
	GPIO_InitStruct.Pull = GPIO_NOPULL;
	GPIO_InitStruct.Speed = GPIO_SPEED_FREQ_LOW;
	HAL_GPIO_Init(GPIOA, &GPIO_InitStruct);

	/*Configure GPIO pin : PD0 */
	GPIO_InitStruct.Pin = GPIO_PIN_0;
	GPIO_InitStruct.Mode = GPIO_MODE_OUTPUT_PP;
	GPIO_InitStruct.Pull = GPIO_NOPULL;
	GPIO_InitStruct.Speed = GPIO_SPEED_FREQ_LOW;
	HAL_GPIO_Init(GPIOD, &GPIO_InitStruct);

}

/* USER CODE BEGIN 4 */

// Watchdog Fucntions
void NetworkTimeout() {
	// TEMPORARY: DISABLE THIS FOR TESTING
	return;

	if (wdog_network < WDOG_NETWORK_CUTOFF) {
		// Increment the timeout ctr
		wdog_network++;

		// A timeout occurs when wdog_network == the Cutoff
		if (wdog_network == WDOG_NETWORK_CUTOFF) {
			// Kill the motors
			TIM2->CCR1 = 0;
			TIM2->CCR2 = 0;
			TIM4->CCR4 = 0;
			TIM4->CCR3 = 0;
			HAL_GPIO_WritePin(GPIOA, GPIO_PIN_3, GPIO_PIN_SET); // Motor_disable
			// DEBUG
			sprintf(ssd_msg, "Network Dead!\n");
			WriteDebug(ssd_msg, strlen(ssd_msg));
		}
	}
}

// ------------------------------------------------------------ SCHEDULING FUNCTIONS -- //
void SCH_XBeeRX() {
	uint8_t *packet;
	uint16_t byte_num;
	if (XBEE_RXPacket(&hxbee, &packet, &byte_num)) {
		return;
	}

	// Network active, reset the watchdog
	if (wdog_network >= WDOG_NETWORK_CUTOFF) {
		//HAL_GPIO_WritePin(GPIOA, GPIO_PIN_3, GPIO_PIN_RESET); // Motor_en
		// DEBUG
		sprintf(ssd_msg, "Network Alive!\n");
		WriteDebug(ssd_msg, strlen(ssd_msg));
	}
	wdog_network = 0;

	// Parse the packet
	if (byte_num == 0xFFFF) {
		// Configuration Packet
		if (packet[1] != jpeg_quality) {
			// JPEG QUALITY CHANGED
			jpeg_quality = packet[1];
			// Reconfigure the JPEG HW
			JPEG_ConfTypeDef *jpeg_config;
			jpeg_config->ColorSpace = JPEG_GRAYSCALE_COLORSPACE;
			jpeg_config->ImageWidth = jpeg_mcu_widths[jpeg_quality] * 8;
			jpeg_config->ImageHeight = jpeg_mcu_heights[jpeg_quality] * 8;
			jpeg_config->ImageQuality = JPEG_QUALITY;
			HAL_JPEG_ConfigEncoding(&hjpeg, jpeg_config);

			jpeg_state = 0;	// Invalidate current JPEG
			tx_state = 2;	// Flag a header re-transmit
		}

		// LIGHTS (0-2000)
		TIM1->CCR4 = packet[3] * 500; // L1
		TIM3->CCR4 = packet[4] * 500; // L2
		TIM3->CCR3 = packet[5] * 500; // L3
		TIM2->CCR4 = packet[6] * 500; // L4

		// TANK CONTROL (THIS IS EXTREMELY IMPORTANT)
		uint8_t motor1_dir = packet[0x0A];	// DIR_LEFT
		uint8_t motor2_dir = packet[0x09];	// DIR_RIGHT

		// Use the direction to set the desired power output
		// 0-255 >> REMAP >> 0-2000
		if (motor1_dir)
			ctrl_input[0] = -((float) packet[0x08]) * 20.0 / 2.55;
		else
			ctrl_input[0] = ((float) packet[0x08]) * 20.0 / 2.55;

		if (motor2_dir)
			ctrl_input[1] = ((float) packet[0x07]) * 20.0 / 2.55;
		else
			ctrl_input[1] = -((float) packet[0x07]) * 20.0 / 2.55;
	}
}

void SCH_XBeeTX() {

	// Early exit if the JPEG isn't ready, nothing to transmit
	if (jpeg_state != 2)
		return;

	// Get delta time, there has to be a delay for the TX to work properly
	uint32_t delta_t = DeltaTime(sch_tim_tx);
	if (delta_t < SCH_MS_TX)
		return;

	if (tx_state == 0)
		tx_state = 1;	// If Idle, Flag as transmitting IMAGE

	if (tx_state == 1) {
		// Send an IMAGE packet
		// Image packet numbers:  0000, 0001, 0002, ...
		if (XBEE_TXPacket(&hxbee,
				jpeg_out + tx_byte * UART_TXSIZE + JPEG_HEADERSIZE, tx_byte)) {
			return;
		}
	} else if (tx_state == 2) {
		// Send a HEADER packet
		// Header packet numbers: FFFE, FFFD, FFFC, ...
		if (XBEE_TXPacket(&hxbee, jpeg_out + tx_byte * UART_TXSIZE,
				0xFFFF - (tx_byte + 1))) {
			return;
		}
	}

	// Update the timer for the next DT period
	sch_tim_tx = HAL_GetTick();
	tx_byte++;

	// IMAGE Transmission complete
	if (tx_state == 1
			&& tx_byte > (jpeg_size - JPEG_HEADERSIZE) / UART_TXSIZE + 1) {
		tx_state = 0;	// Flag the radio as idle
		tx_byte = 0;	// Reset the packet counter to 0
		jpeg_state = 0;	// Flag the JPEG as idle
		return;
	}

	// HEADER Transmission complete
	if (tx_state == 2 && tx_byte > JPEG_HEADERSIZE / UART_TXSIZE + 1) {
		tx_state = 0;	// Flag the radio as idle
		tx_byte = 0;	// Reset the packet counter to 0
		return;
	}

//	for (uint16_t i = 0; i < ((jpeg_size - JPEG_HEADERSIZE) / UART_TXSIZE) + 1; i++) {
//		XBEE_TXPacket(&hxbee, jpeg_out + i*UART_TXSIZE + JPEG_HEADERSIZE, i);
//		HAL_Delay(5);
//	}
}

void SCH_CTRL() {
	uint32_t delta_t = DeltaTime(sch_tim_ctrl);
	sch_tim_ctrl = HAL_GetTick();

	float ctrl_override[2] = { 0, 0 };
	ctrl_override[0] = ctrl_input[0];
	ctrl_override[1] = ctrl_input[1];

	if (error_overcurrent || error_undervolt) {
		ctrl_override[0] = 0;
		ctrl_override[1] = 0;
	}

	// This is how much the power level of the motors can change right now
	float maxAllowablePwrDelta = CTRL_MAX_PWRDELTA_PERSECOND
			* (((float) delta_t) / 1000.0);
	for (uint8_t i = 0; i < 2; i++) {
		// Correct the control signals if they somehow go out of bounds
		if (ctrl_override[i] > 2000.0)
			ctrl_override[i] = 2000.0;
		if (ctrl_override[i] < -2000.0)
			ctrl_override[i] = -2000.0;

		float delta = ctrl_override[i] - ctrl_output[i];
		if (delta > 0) {
			if (maxAllowablePwrDelta >= delta)
				ctrl_output[i] = ctrl_override[i];
			else
				ctrl_output[i] += maxAllowablePwrDelta;
		} else {
			if (maxAllowablePwrDelta >= -delta)
				ctrl_output[i] = ctrl_override[i];
			else
				ctrl_output[i] -= maxAllowablePwrDelta;
		}

		// Correct the output signals if they somehow go out of bounds
		if (ctrl_output[i] > 2000.0)
			ctrl_output[i] = 2000.0;
		if (ctrl_output[i] < -2000.0)
			ctrl_output[i] = -2000.0;

		// Turn the interpolated values into actual PWM levels
		ctrl_output_dir[i] = ctrl_output[i] >= 0;
		if (ctrl_output_dir[i])
			ctrl_output_mag[i] = (uint16_t) (ctrl_output[i]);
		else
			ctrl_output_mag[i] = (uint16_t) (-ctrl_output[i]);
	}

	// Toggle the motors
	if (ctrl_output_dir[0]) {
		TIM2->CCR1 = 0;
		TIM2->CCR2 = ctrl_output_mag[0];
	} else {
		TIM2->CCR1 = ctrl_output_mag[0];
		TIM2->CCR2 = 0;
	}

	if (ctrl_output_dir[1]) {
		TIM4->CCR3 = 0;
		TIM4->CCR4 = ctrl_output_mag[1];
	} else {
		TIM4->CCR3 = ctrl_output_mag[1];
		TIM4->CCR4 = 0;
	}
}

void SCH_PowerMon() {
	INA229_Get(&hina229);

	if (hina229.voltage > debug_peakVoltage)
		debug_peakVoltage = hina229.voltage;
	if (hina229.current > debug_peakCurrent)
		debug_peakCurrent = hina229.current;

	error_overcurrent = hina229.current >= OVERCURRENT_PROTLIMIT;
	error_undervolt =   hina229.voltage <= UNDERVOLT_PROTLIMIT;
}

void SCH_Camera() {
	if (camera_state != 0)
		return;	// Exit if the camera is capturing, queued, or has un-encoded data
	if (jpeg_state != 0)
		return;	// Exit if the JPEG is processing (camera DMA can corrupt the working buffer of JPEG)

	// Take a snapshot
	uint8_t ovStat = HAL_DCMI_Start_DMA(&hdcmi, DCMI_MODE_SNAPSHOT, camera_mem,
			CAM_GRAYSIZE / 4);
	if (ovStat) {
		sprintf(ssd_msg, "DCMI/DMA ERROR - Code 0x%X\r\n", ovStat);
		WriteDebug(ssd_msg, strlen(ssd_msg));
		return;
	}

	camera_state = 1;	// Flag Camera as DMA Queued
}

void SCH_JPEG() {

	if (jpeg_state != 0)
		return;	// Exit if the JPEG is already processing
	if (camera_state != 3)
		return;	// Exit if the camera does not have a new image to present
	if (tx_state == 1)
		return;		// Exit if the radio is transmitting

	camera_state = 0;// flag the camera as idle, it won't start again until the JPEG is done
	jpeg_state = 1;		// flag JPG as encoding

	jpeg_block = 0;		// Reset the JEPG block idx
	jpeg_size = 0;		// Reset the JPEG size counter

	GenerateJPEGMCUBlock();
	HAL_JPEG_Encode_DMA(&hjpeg, jpeg_mcu, 64, jpeg_out, JPEG_OUTBUF_SIZE);
}

void SCH_DEBUG() {
	uint32_t delta_t = DeltaTime(sch_tim_debug);
	if (delta_t < SCH_MS_DEBUG)
		return;

	debug_ctr++;

	if (debug_ctr >= 60) {
		debug_ctr = 0;
		for (uint8_t i = 0; i < 2; i++) {
			uint8_t polarity = rand() % 2;
			if (polarity)
				ctrl_input[i] = (float) (rand() % 2000);
			else
				ctrl_input[i] = -(float) (rand() % 2000);

			//ctrl_inputLast[i] = ctrl_input[i];
		}
	}

	// Print Motor CTRL states
	if (error_undervolt)
		sprintf(ssd_msg, "!! UNDERVOLT (%.2f) !!\n----------\n",
				debug_peakVoltage);
	else if (error_overcurrent)
		sprintf(ssd_msg, "!! OVERCURRENT (%.2f) !!\n----------\n",
				debug_peakCurrent);
	else
		sprintf(ssd_msg, "L: %04d - R: %04d | V: %.2f, A: %.2f\n----------\n",
				ctrl_output_mag[0], ctrl_output_mag[1], debug_peakVoltage,
				debug_peakCurrent);
	// Print Power levels
	//sprintf(ssd_msg, "V: %.2f, A: %f\n", hina229.voltage, hina229.current);
	WriteDebug(ssd_msg, strlen(ssd_msg));

	debug_peakVoltage = 0;
	debug_peakCurrent = 0;

	sch_tim_debug = HAL_GetTick();
}

// ------------------------------------------------------------ OVERRIDE CALLBACKS -- //
// Frame captured event, called when the DMA buffer is full of new frame data
void HAL_DCMI_VsyncEventCallback(DCMI_HandleTypeDef *hdcmi) {
	if (!camera_state)
		return;	// Do nothing if the camera is IDLE

	if (camera_state == 1) {	// Transition flag to CAPTURING
		camera_state = 2;
		return;
	}

	if (camera_state == 2) {	// Transition flag to READY
		HAL_DCMI_Stop(hdcmi);
		camera_state = 3;
		return;
	}
}

// ------------------------------------------------------------ OVERRIDE UART DMA CALLBACKS -- //
void HAL_UART_RxCpltCallback(UART_HandleTypeDef *huart) {
	XBEE_RX_DMACallback(&hxbee);
}

// JPEG hardware is requesting the next MCU block
void HAL_JPEG_GetDataCallback(JPEG_HandleTypeDef *hjpeg, uint32_t NbDecodedData) {

	// Restock the input buffer with new MCU
	if (GenerateJPEGMCUBlock()) {
		// ERROR while generating MCU, probable memory leak - recover JPEG peripheral by restarting
		jpeg_state = 0;	// Flag JPEG as idle
		jpeg_block = 0;	// Reset the JPEG block IDX

		sprintf(ssd_msg, "JPEG OVERRUN\n");
		WriteDebug(ssd_msg, strlen(ssd_msg));
	} else {
		// Configure the buffer to be the same as before, it's contents have changed
		HAL_JPEG_ConfigInputBuffer(hjpeg, jpeg_mcu, 64);
	}
}

// JPEG hardware is requesting a larger output buffer.
// This is done to manage JPEG output size, give it a buffer only as large as required
void HAL_JPEG_DataReadyCallback(JPEG_HandleTypeDef *hjpeg, uint8_t *pDataOut,
		uint32_t OutDataLength) {
	// Setup new output buffer location (part of contiguous super-buffer)
	jpeg_size += JPEG_OUTBUF_SIZE;
	HAL_JPEG_ConfigOutputBuffer(hjpeg, jpeg_out + jpeg_size, JPEG_OUTBUF_SIZE);
}

// JPEG hardware has completed the current image
void HAL_JPEG_EncodeCpltCallback(JPEG_HandleTypeDef *hjpeg) {
	jpeg_state = 2;	// Flag JPEG as ready
	jpeg_block = 0;	// Reset the JPEG block IDX
//	sprintf(ssd_msg, "JPEG DONE\n");
//	WriteDebug(ssd_msg, strlen(ssd_msg));
}

// JPEG hardware encountered an error
void HAL_JPEG_ErrorCallback(JPEG_HandleTypeDef *hjpeg) {
	sprintf(ssd_msg, " JPEG ERROR");
	WriteDebug(ssd_msg, strlen(ssd_msg));
	//HAL_JPEG_Abort(&hjpeg);
	jpeg_state = 0;	// Flag JPEG as idle
}

// ------------------------------------------------------------ UTILITY FUNCTIONS -- //
uint32_t DeltaTime(uint32_t start_t) {
	uint32_t now_t = HAL_GetTick();
	if (now_t < start_t) {
		// Overflow has occurred
		return (0xFFFFFFFF - start_t) + now_t;
	}

	return now_t - start_t;
}

// Transmit wrapper, this is for continuity across Controller project which debugs by printing to OLEDs
void WriteDebug(uint8_t *str_ptr, uint8_t str_len) {
	CDC_Transmit_FS(str_ptr, str_len);
}

HAL_StatusTypeDef CAM_GetRegister(uint8_t addr, uint8_t *pData,
		uint8_t haltOnError) {
	HAL_StatusTypeDef ov_result;
	uint8_t usb_msg[100] = { 0 };

	ov_result = HAL_I2C_Master_Transmit(&hi2c2, OV7670_ADDR_READ, &addr, 1,
			100);
	if (ov_result) {
		if (haltOnError) {
			sprintf(usb_msg,
					"TX ERROR: Cannot read camera register 0x%X - Code 0x%X\r\n",
					addr, ov_result);
			while (1) {
				CDC_Transmit_FS(usb_msg, strlen(usb_msg));
				HAL_Delay(1000);
			}
		}
		return ov_result;
	}

	ov_result = HAL_I2C_Master_Receive(&hi2c2, OV7670_ADDR_READ, pData, 1, 100);
	if (ov_result) {
		if (haltOnError) {
			sprintf(usb_msg,
					"RX ERROR: Cannot read camera register 0x%X - Code 0x%X\r\n",
					addr, ov_result);
			while (1) {
				CDC_Transmit_FS(usb_msg, strlen(usb_msg));
				HAL_Delay(1000);
			}
		}
		return ov_result;
	}

	return HAL_OK;
}

HAL_StatusTypeDef CAM_SetRegister(uint8_t addr, uint8_t data,
		uint8_t haltOnError) {
	HAL_StatusTypeDef ov_result;
	uint8_t usb_msg[100] = { 0 };

	uint8_t reg_set[2] = { addr, data };

	ov_result = HAL_I2C_Master_Transmit(&hi2c2, OV7670_ADDR_WRITE, reg_set, 2,
			100);
	if (ov_result) {
		if (haltOnError) {
			sprintf(usb_msg,
					"TX ERROR: Cannot write camera register 0x%X - Code 0x%X\r\n",
					addr, ov_result);
			while (1) {
				CDC_Transmit_FS(usb_msg, strlen(usb_msg));
				HAL_Delay(1000);
			}
		}
		return ov_result;
	}

	// Confirm write
	uint8_t reg_get = 0x00;
	ov_result = CAM_GetRegister(addr, &reg_get, 1);
	if (ov_result) {
		if (haltOnError) {
			sprintf(usb_msg,
					"CF ERROR: Cannot confirm camera register 0x%X - Code 0x%X\r\n",
					addr, ov_result);
			while (1) {
				CDC_Transmit_FS(usb_msg, strlen(usb_msg));
				HAL_Delay(1000);
			}
		} else {
			return ov_result;
		}
	}

	if (reg_get != data) {
		// Error, bad write
		if (haltOnError) {
			sprintf(usb_msg,
					"CF ERROR: Bad write to register 0x%X - EXPECTED 0x%X, GOT 0x%X\r\n",
					addr, data, reg_get);
			while (1) {
				CDC_Transmit_FS(usb_msg, strlen(usb_msg));
				HAL_Delay(1000);
			}
		}
		return HAL_ERROR;
	}

	return HAL_OK;
}

// GENERATE JPEG MCU BLOCK
uint8_t GenerateJPEGMCUBlock() {
	// Don't go over the bounds of the specified MCU area
	if (jpeg_block
			> jpeg_mcu_widths[jpeg_quality] * jpeg_mcu_heights[jpeg_quality]) {
		return 1;
	}

	int xStart = (jpeg_block % jpeg_mcu_widths[jpeg_quality]) * 8;
	int yStart = (jpeg_block / jpeg_mcu_widths[jpeg_quality]) * 8;
	int i = 0;
	for (int y = yStart; y < yStart + 8; y++) {
		uint16_t cached_y = y * jpeg_scaleFactors[jpeg_quality];

		for (int x = xStart; x < xStart + 8; x++) {
			uint16_t cached_x = x * jpeg_scaleFactors[jpeg_quality]
					+ camera_vshift;
			// Pad to 8x8
			if (cached_x >= CAM_WIDTH || cached_y >= CAM_HEIGHT) {
				jpeg_mcu[i] = 0x00;
			} else {
				jpeg_mcu[i] = camera_mem[cached_x + cached_y * CAM_WIDTH];
			}
			i++;
		}
	}
	jpeg_block++;
	return 0;
}
/* USER CODE END 4 */

/* MPU Configuration */

void MPU_Config(void) {
	MPU_Region_InitTypeDef MPU_InitStruct = { 0 };

	/* Disables the MPU */
	HAL_MPU_Disable();

	/** Initializes and configures the Region and the memory to be protected
	 */
	MPU_InitStruct.Enable = MPU_REGION_ENABLE;
	MPU_InitStruct.Number = MPU_REGION_NUMBER0;
	MPU_InitStruct.BaseAddress = 0x0;
	MPU_InitStruct.Size = MPU_REGION_SIZE_4GB;
	MPU_InitStruct.SubRegionDisable = 0x87;
	MPU_InitStruct.TypeExtField = MPU_TEX_LEVEL0;
	MPU_InitStruct.AccessPermission = MPU_REGION_NO_ACCESS;
	MPU_InitStruct.DisableExec = MPU_INSTRUCTION_ACCESS_DISABLE;
	MPU_InitStruct.IsShareable = MPU_ACCESS_SHAREABLE;
	MPU_InitStruct.IsCacheable = MPU_ACCESS_NOT_CACHEABLE;
	MPU_InitStruct.IsBufferable = MPU_ACCESS_NOT_BUFFERABLE;

	HAL_MPU_ConfigRegion(&MPU_InitStruct);
	/* Enables the MPU */
	HAL_MPU_Enable(MPU_PRIVILEGED_DEFAULT);

}

void Error_Handler(void) {
	__disable_irq();
	while (1) {
	}
}
